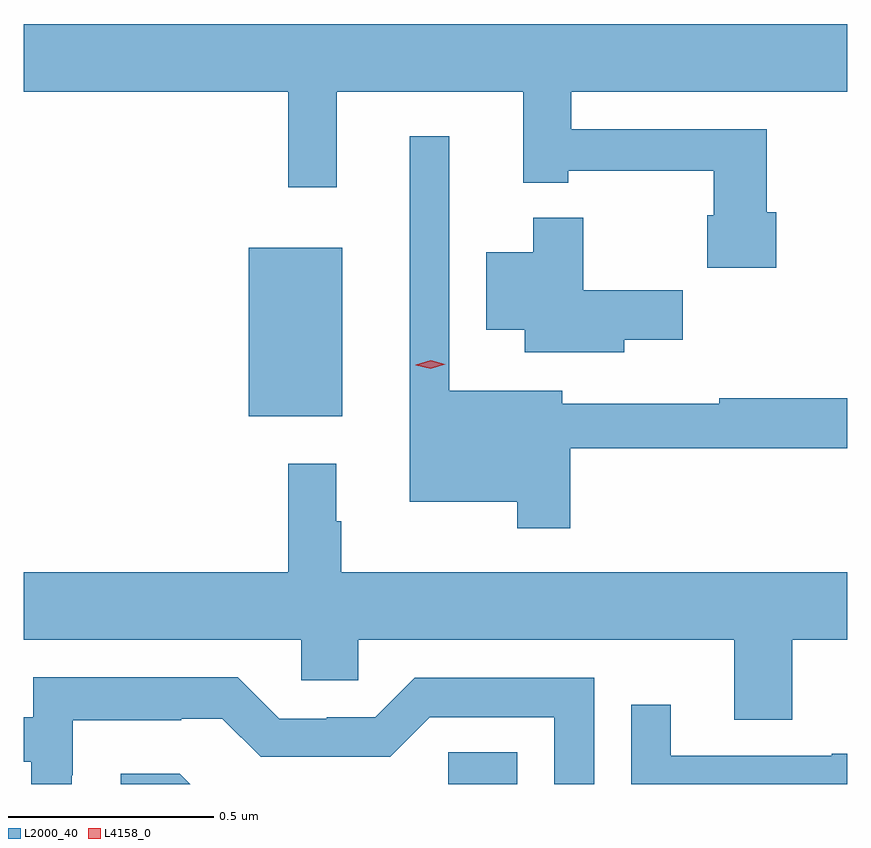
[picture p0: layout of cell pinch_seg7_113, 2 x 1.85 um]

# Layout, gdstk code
import gdstk
lib = gdstk.Library(unit=1e-6, precision=1e-09)
def R(c, l, rs):  # rectangles x0, y0, x1, y1
    for r in rs: c.add(gdstk.rectangle(r[:2], r[2:], *l))
def P(c, l, *ps):  # polygons
    for p in ps: c.add(gdstk.Polygon(p, *l))
L2000_40 = (2000, 40)
L4158_0 = (4158, 0)

pinch_seg7_113 = lib.new_cell('pinch_seg7_113')
R(pinch_seg7_113, L2000_40, [(924.18,1014.918,924.348,1014.995), (923.696,1015.811,923.923,1016.221)])
P(pinch_seg7_113, L2000_40, [(924.977,1016.307),(924.953,1016.307),(924.953,1016.508),(924.479,1016.508),(924.479,1016.6),(925.149,1016.6),(925.149,1016.764),(923.149,1016.764),(923.149,1016.6),(923.791,1016.6),(923.791,1016.367),(923.909,1016.367),(923.909,1016.6),(924.362,1016.6),(924.362,1016.378),(924.472,1016.378),(924.472,1016.407),(924.825,1016.407),(924.825,1016.299),(924.809,1016.299),(924.809,1016.172),(924.977,1016.172)],
  [(924.476,1015.734),(925.149,1015.734),(925.149,1015.855),(924.838,1015.855),(924.838,1015.842),(924.457,1015.842),(924.457,1015.873),(924.183,1015.873),(924.183,1016.491),(924.086,1016.491),(924.086,1015.604),(924.348,1015.604),(924.348,1015.539),(924.476,1015.539)],
  [(924.607,1015.997),(924.749,1015.997),(924.749,1016.117),(924.508,1016.117),(924.508,1016.293),(924.386,1016.293),(924.386,1016.209),(924.272,1016.209),(924.272,1016.021),(924.366,1016.021),(924.366,1015.967),(924.607,1015.967)],
  [(925.015,1015.268),(925.149,1015.268),(925.149,1015.432),(923.92,1015.432),(923.92,1015.556),(923.908,1015.556),(923.908,1015.696),(923.791,1015.696),(923.791,1015.432),(923.149,1015.432),(923.149,1015.268),(923.823,1015.268),(923.823,1015.17),(923.961,1015.17),(923.961,1015.268),(924.875,1015.268),(924.875,1015.074),(925.015,1015.074)],
  [(923.266,1014.939),(923.268,1014.939),(923.268,1015.073),(923.531,1015.073),(923.531,1015.077),(923.631,1015.077),(923.724,1014.984),(924.039,1014.984),(924.135,1015.08),(924.438,1015.08),(924.438,1014.918),(924.534,1014.918),(924.534,1015.176),(924.099,1015.176),(924.003,1015.08),(923.885,1015.08),(923.885,1015.077),(923.769,1015.077),(923.669,1015.177),(923.172,1015.177),(923.172,1015.08),(923.149,1015.08),(923.149,1014.972),(923.167,1014.972),(923.167,1014.918),(923.266,1014.918)],
  [(925.149,1014.992),(925.111,1014.992),(925.111,1014.987),(924.721,1014.987),(924.721,1015.111),(924.625,1015.111),(924.625,1014.918),(925.149,1014.918)],
  [(923.528,1014.943),(923.385,1014.943),(923.385,1014.918),(923.553,1014.918)])
P(pinch_seg7_113, L4158_0, [(924.137,1015.927),(924.101,1015.935),(924.101,1015.935),(924.101,1015.936),(924.137,1015.947),(924.173,1015.938),(924.173,1015.938),(924.173,1015.938)])

lib.write_gds('pinch_seg7_113.gds')
